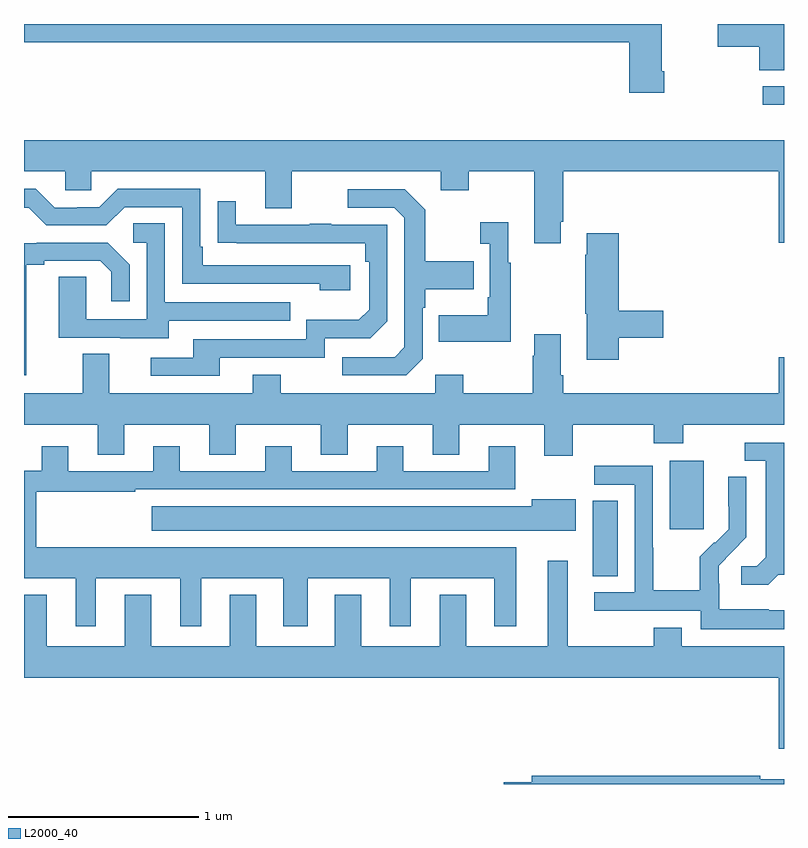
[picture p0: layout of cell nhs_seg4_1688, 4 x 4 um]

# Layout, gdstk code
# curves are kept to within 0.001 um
import gdstk
lib = gdstk.Library(unit=1e-6, precision=1e-09)
def R(c, l, rs):  # rectangles x0, y0, x1, y1
    for r in rs: c.add(gdstk.rectangle(r[:2], r[2:], *l))
def P(c, l, *ps):  # polygons
    for p in ps: c.add(gdstk.Polygon(p, *l))
L2000_40 = (2000, 40)

nhs_seg4_1688 = lib.new_cell('nhs_seg4_1688')
R(nhs_seg4_1688, L2000_40, [(199.994,823.993,200.125,824.39), (200.399,824.241,200.578,824.602), (200.889,826.476,201,826.572)])
P(nhs_seg4_1688, L2000_40, [(201,826.9),(200.652,826.9),(200.652,826.781),(200.87,826.781),(200.87,826.657),(201,826.657)],
  [(200.369,826.651),(200.356,826.651),(200.356,826.9),(197,826.9),(197,826.804),(200.186,826.804),(200.186,826.539),(200.369,826.539)],
  [(199.825,825.859),(199.838,825.859),(199.838,826.124),(200.972,826.124),(200.972,825.75),(201,825.75),(201,826.288),(197,826.288),(197,826.124),(197.217,826.124),(197.217,826.026),(197.355,826.026),(197.355,826.124),(198.269,826.124),(198.269,825.93),(198.409,825.93),(198.409,826.124),(199.193,826.124),(199.193,826.025),(199.341,826.025),(199.341,826.124),(199.685,826.124),(199.685,825.747),(199.825,825.747)],
  [(198.718,825.63),(197.941,825.63),(197.941,825.727),(197.928,825.727),(197.928,826.032),(197.493,826.032),(197.397,825.936),(197.279,825.936),(197.279,825.933),(197.163,825.933),(197.063,826.033),(197,826.033),(197,825.933),(197.025,825.933),(197.118,825.84),(197.433,825.84),(197.529,825.936),(197.832,825.936),(197.832,825.534),(198.557,825.534),(198.557,825.5),(198.718,825.5)],
  [(199.098,825.138),(199.098,825.407),(199.111,825.407),(199.111,825.503),(199.367,825.503),(199.367,825.651),(199.111,825.651),(199.111,825.923),(199.005,826.029),(198.705,826.029),(198.705,825.933),(198.948,825.933),(199.002,825.879),(199.002,825.198),(198.951,825.147),(198.675,825.147),(198.675,825.051),(199.011,825.051)],
  [(198.031,825.144),(198.582,825.144),(198.582,825.246),(198.822,825.246),(198.912,825.336),(198.912,825.843),(198.617,825.843),(198.617,825.848),(198.505,825.848),(198.505,825.843),(198.115,825.843),(198.115,825.967),(198.019,825.967),(198.019,825.748),(198.796,825.747),(198.796,825.65),(198.816,825.65),(198.816,825.396),(198.763,825.343),(198.486,825.343),(198.486,825.24),(197.891,825.24),(197.891,825.144),(197.667,825.144),(197.667,825.048),(198.031,825.048)],
  [(199.561,825.643),(199.549,825.643),(199.549,825.856),(199.401,825.856),(199.401,825.743),(199.452,825.743),(199.452,825.463),(199.44,825.463),(199.44,825.367),(199.183,825.367),(199.183,825.227),(199.561,825.227)],
  [(197.761,825.339),(198.401,825.339),(198.401,825.435),(197.742,825.435),(197.742,825.851),(197.574,825.851),(197.574,825.75),(197.646,825.75),(197.646,825.345),(197.328,825.345),(197.328,825.569),(197.183,825.569),(197.183,825.249),(197.507,825.249),(197.507,825.245),(197.761,825.245)],
  [(200.129,825.25),(200.365,825.25),(200.365,825.392),(200.129,825.392),(200.129,825.799),(199.961,825.799),(199.961,825.686),(199.954,825.686),(199.954,825.375),(199.961,825.375),(199.961,825.132),(200.129,825.132)],
  [(197.011,825.632),(197.107,825.632),(197.107,825.654),(197.402,825.654),(197.459,825.597),(197.459,825.441),(197.556,825.441),(197.556,825.634),(197.44,825.75),(197.068,825.75),(197.068,825.747),(197,825.747),(197,825.051),(197.011,825.051)],
  [(199.887,824.792),(200.314,824.792),(200.314,824.693),(200.469,824.693),(200.469,824.792),(201,824.792),(201,825.145),(200.972,825.145),(200.972,824.956),(199.838,824.956),(199.838,825.052),(199.825,825.052),(199.825,825.268),(199.685,825.268),(199.685,825.155),(199.678,825.155),(199.678,824.956),(199.311,824.956),(199.311,825.055),(199.164,825.055),(199.164,824.956),(198.351,824.956),(198.351,825.055),(198.203,825.055),(198.203,824.956),(197.449,824.956),(197.449,825.164),(197.309,825.164),(197.309,824.956),(197,824.956),(197,824.792),(197.387,824.792),(197.387,824.632),(197.527,824.632),(197.527,824.792),(197.975,824.792),(197.975,824.632),(198.115,824.632),(198.115,824.792),(198.563,824.792),(198.563,824.632),(198.703,824.632),(198.703,824.792),(199.151,824.792),(199.151,824.632),(199.291,824.632),(199.291,824.792),(199.739,824.792),(199.739,824.628),(199.887,824.628)],
  [(200.97,824.001),(201,824.001),(201,824.697),(200.793,824.697),(200.793,824.601),(200.903,824.601),(200.903,824.093),(200.856,824.046),(200.775,824.046),(200.775,823.949),(200.918,823.949)],
  [(197.377,823.982),(197.822,823.982),(197.822,823.731),(197.932,823.731),(197.932,823.982),(198.365,823.982),(198.365,823.731),(198.493,823.731),(198.493,823.982),(198.926,823.982),(198.926,823.731),(199.036,823.731),(199.036,823.982),(199.475,823.982),(199.475,823.731),(199.591,823.731),(199.591,824.146),(197.065,824.146),(197.065,824.439),(197.585,824.439),(197.585,824.451),(199.585,824.451),(199.585,824.677),(199.445,824.677),(199.445,824.547),(198.997,824.547),(198.997,824.677),(198.857,824.677),(198.857,824.547),(198.409,824.547),(198.409,824.677),(198.269,824.677),(198.269,824.547),(197.821,824.547),(197.821,824.677),(197.681,824.677),(197.681,824.547),(197.233,824.547),(197.233,824.677),(197.093,824.677),(197.093,824.548),(197,824.548),(197,823.982),(197.273,823.982),(197.273,823.731),(197.377,823.731)],
  [(201,823.815),(200.921,823.815),(200.921,823.819),(200.658,823.819),(200.658,823.953),(200.656,823.953),(200.656,824.05),(200.802,824.198),(200.802,824.516),(200.706,824.516),(200.706,824.362),(200.708,824.362),(200.708,824.24),(200.637,824.169),(200.634,824.172),(200.557,824.095),(200.557,823.921),(200.313,823.921),(200.313,824.144),(200.31,824.144),(200.31,824.574),(200.001,824.574),(200.001,824.475),(200.214,824.475),(200.214,823.908),(200.001,823.908),(200.001,823.812),(200.562,823.812),(200.562,823.715),(201,823.715)],
  [(199.903,824.398),(199.673,824.398),(199.673,824.362),(197.673,824.362),(197.673,824.234),(199.903,824.234)],
  [(199.757,824.074),(199.757,823.624),(199.327,823.624),(199.327,823.897),(199.187,823.897),(199.187,823.624),(198.775,823.624),(198.775,823.897),(198.635,823.897),(198.635,823.624),(198.223,823.624),(198.223,823.897),(198.083,823.897),(198.083,823.624),(197.671,823.624),(197.671,823.897),(197.531,823.897),(197.531,823.624),(197.119,823.624),(197.119,823.897),(197,823.897),(197,823.46),(200.972,823.46),(200.972,823.086),(201,823.086),(201,823.624),(200.461,823.624),(200.461,823.723),(200.314,823.723),(200.314,823.624),(199.861,823.624),(199.861,824.074)],
  [(201,822.925),(200.876,822.925),(200.876,822.944),(199.673,822.944),(199.673,822.908),(199.524,822.908),(199.524,822.9),(201,822.9)])

lib.write_gds('nhs_seg4_1688.gds')
